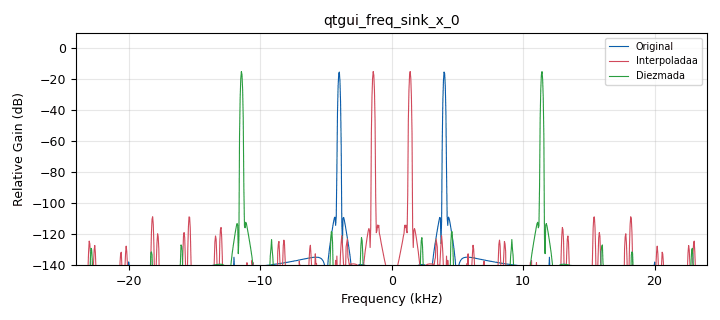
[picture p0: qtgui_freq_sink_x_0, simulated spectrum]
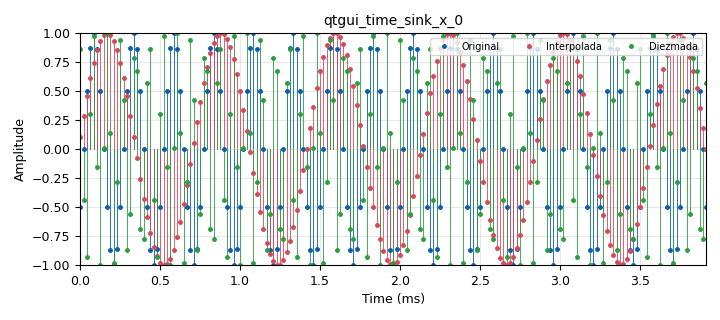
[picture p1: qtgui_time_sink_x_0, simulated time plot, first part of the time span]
options:
  parameters:
    author: 'Cristian_Rugeles_Diana_Ariza_G2_L1A '
    generate_options: qt_gui
    id: Lab1_punto3
    output_language: python
    title: Interpolado_Diezmado
  states: {}

blocks:
- name: freq
  id: variable_qtgui_range
  parameters:
    label: frequency
    start: '1000'
    step: '1000'
    stop: '40000'
    value: '4000'
  states: {}
- name: samp_rate
  id: variable
  parameters:
    value: '48000'
  states: {}
- name: analog_sig_source_x_0
  id: analog_sig_source_x
  parameters:
    amp: '1'
    freq: freq
    offset: '0'
    phase: '0'
    samp_rate: samp_rate
    type: float
    waveform: analog.GR_COS_WAVE
  states: {}
- name: analog_sig_source_x_1
  id: analog_sig_source_x
  parameters:
    amp: '1'
    freq: freq
    offset: '0'
    phase: '0'
    samp_rate: samp_rate
    type: float
    waveform: analog.GR_COS_WAVE
  states: {}
- name: analog_sig_source_x_2
  id: analog_sig_source_x
  parameters:
    amp: '1'
    freq: freq
    offset: '0'
    phase: '0'
    samp_rate: samp_rate
    type: float
    waveform: analog.GR_COS_WAVE
  states: {}
- name: blocks_throttle_0
  id: blocks_throttle
  parameters:
    samples_per_second: samp_rate
    type: float
  states: {}
- name: qtgui_freq_sink_x_0
  id: qtgui_freq_sink_x
  parameters:
    bw: samp_rate
    fc: '0'
    fftsize: '1024'
    label1: Original
    label2: Interpoladaa
    label3: Diezmada
    nconnections: '3'
    type: float
  states: {}
- name: qtgui_time_sink_x_0
  id: qtgui_time_sink_x
  parameters:
    label1: Original
    label2: Interpolada
    label3: Diezmada
    nconnections: '3'
    size: '1024'
    srate: samp_rate
    stemplot: 'True'
    type: float
  states: {}
- name: rational_resampler_xxx_0
  id: rational_resampler_xxx
  parameters:
    decim: '20'
    interp: '7'
    type: fff
  states: {}
- name: rational_resampler_xxx_1
  id: rational_resampler_xxx
  parameters:
    decim: '1'
    interp: '1'
    type: fff
  states: {}
- name: rational_resampler_xxx_2
  id: rational_resampler_xxx
  parameters:
    decim: '7'
    interp: '20'
    type: fff
  states: {}

connections:
- [analog_sig_source_x_0, '0', rational_resampler_xxx_1, '0']
- [analog_sig_source_x_1, '0', rational_resampler_xxx_2, '0']
- [analog_sig_source_x_2, '0', rational_resampler_xxx_0, '0']
- [blocks_throttle_0, '0', qtgui_freq_sink_x_0, '0']
- [blocks_throttle_0, '0', qtgui_time_sink_x_0, '0']
- [rational_resampler_xxx_0, '0', qtgui_freq_sink_x_0, '2']
- [rational_resampler_xxx_0, '0', qtgui_time_sink_x_0, '2']
- [rational_resampler_xxx_1, '0', blocks_throttle_0, '0']
- [rational_resampler_xxx_2, '0', qtgui_freq_sink_x_0, '1']
- [rational_resampler_xxx_2, '0', qtgui_time_sink_x_0, '1']

metadata:
  file_format: 1
